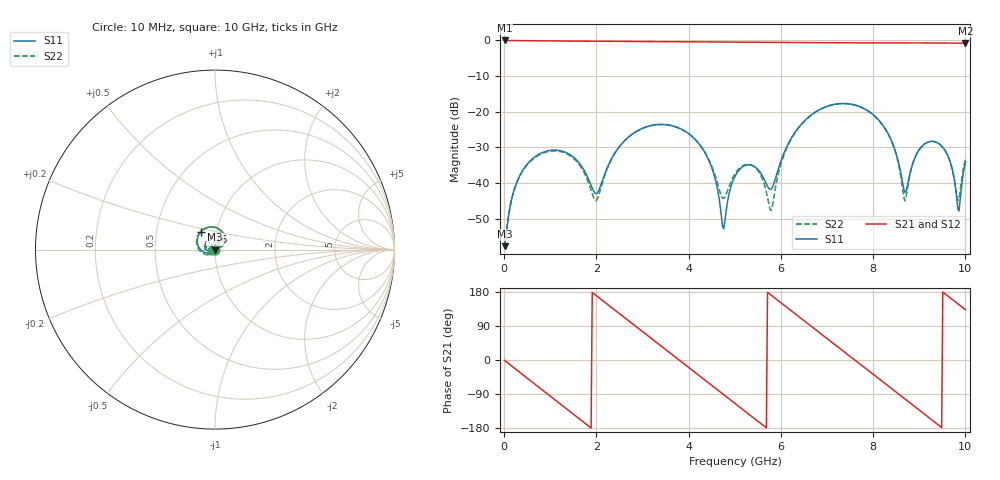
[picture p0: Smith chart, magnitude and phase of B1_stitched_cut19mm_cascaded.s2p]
! Channel segmentation validation - 38 mm 50 ohm symmetric stripline coupon
! Case: Coupon B-1 (with stitching vias) - cut 19 mm from nearest port, cascaded
! Solver: Ansys HFSS 3D Layout 2026 R1, broadband adaptive 1-5 GHz,
!  Delta S 0.02, interpolating sweep 10 MHz - 10 GHz
! Port[1] = U1.PAD1.SIG
! Port[2] = U2.PAD1.SIG
# GHz S MA R 50.0
! Port[1] = U1.PAD1.SIG
! Port[2] = U2.PAD1.SIG
!freq magS11 angS11 magS21 angS21 magS12 angS12 magS22 angS22
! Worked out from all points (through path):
!   401 points, 10 MHz to 10 GHz, reference 50 ohm
!   highest |S21| = -0.01 dB at 10 MHz (marker M1); lowest = -0.8 dB at 10 GHz (marker M2)
!   group delay of S21, straight-line fit = 263 ps
!   lowest |S11| = -57.7 dB at 10 MHz (marker M3), VSWR 1.00, Z = 50.1 - j0.00948 ohm
!   |S11| at or under -10 dB: start of sweep to end of sweep
!   |S22| runs from -57.7 to -17.7 dB; largest |S21 - S12| = 6.6e-14
!   S11 on the Smith chart (normalised r, x): 10 MHz: 1.00, -0.00; 7.16 GHz: 0.84, +0.17; 10 GHz: 0.96, -0.02
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0.01  0.00131 -4.1  0.9986 -1.0  0.9986 -1.0  0.00131 -4.1
0.31  0.01172 -97.7  0.9924 -29.8  0.9924 -29.8  0.01148 -100.7
0.885  0.0277 -161.7  0.9848 -84.6  0.9848 -84.6  0.02701 -171.2
1.685  0.01703 134.0  0.977 -160.5  0.977 -160.5  0.01608 94.3
2.01  0.00718 176.8  0.9742 168.7  0.9742 168.7  0.005818 -20.5
2.61  0.0393 -167.6  0.9684 111.8  0.9684 111.8  0.0391 -148.6
3.36  0.06649 127.3  0.9608 40.9  0.9608 40.9  0.06632 135.6
4.285  0.03145 40.4  0.9554 -46.5  0.9554 -46.5  0.03176 53.6
4.76  0.002286 -99.4  0.9524 -91.5  0.9524 -91.5  0.006093 92.1
5.01  0.01266 169.9  0.9505 -115.2  0.9505 -115.2  0.01367 128.5
5.435  0.01694 134.9  0.9474 -155.4  0.9474 -155.4  0.01672 96.1
5.785  0.008202 173.2  0.945 171.5  0.945 171.5  0.004146 -13.3
6.135  0.03314 -149.0  0.9419 138.3  0.9419 138.3  0.03193 -126.6
6.685  0.09279 170.3  0.9343 86.2  0.9343 86.2  0.0925 177.3
7.16  0.1271 128.8  0.9273 41.5  0.9273 41.5  0.127 132.7
7.735  0.1162 77.9  0.9248 -12.5  0.9248 -12.5  0.116 80.0
8.335  0.04807 28.5  0.9261 -69.2  0.9261 -69.2  0.04721 28.7
8.685  0.007458 68.1  0.9248 -102.4  0.9248 -102.4  0.005655 75.0
9.16  0.03678 114.4  0.921 -147.4  0.921 -147.4  0.03703 119.1
9.585  0.02693 81.8  0.9183 172.3  0.9183 172.3  0.02669 87.6
9.835  0.004403 114.2  0.9168 148.6  0.9168 148.6  0.00571 133.7
10  0.01988 -155.7  0.9153 132.9  0.9153 132.9  0.0216 -157.1
